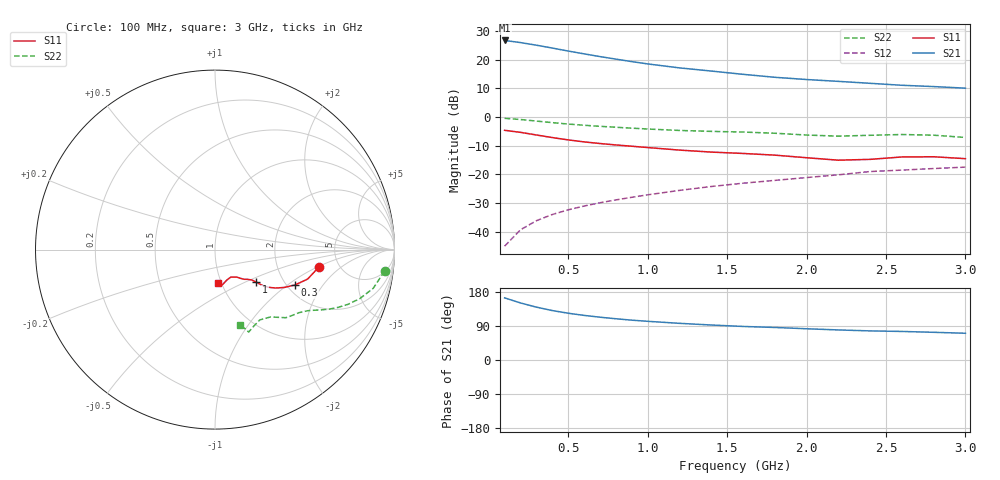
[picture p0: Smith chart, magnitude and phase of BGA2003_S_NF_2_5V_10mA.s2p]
! Title: BGA2003
! Bias: V(Vs_Out)=2.5V; I(CTRL)=10mA controlled / noise data included
! Company: Philips Semiconductors NL
! User: Quality&Reliability DiscreteSemiConductors-Nijmegen
! Measure time: 15 Jan 1999 / 14:07:37
#  MHz  S  MA  R 50
! Freq  S11  S21  S12  S22  :
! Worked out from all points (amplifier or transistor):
!   20 points, 100 MHz to 3 GHz, reference 50 ohm
!   highest |S21| = 26.8 dB at 100 MHz (marker M1)
!   |S21| within 3 dB of that: start of sweep to 433 MHz
!   unconditionally stable (mu >= 1): 1.042 GHz to end of sweep
!   at 400 MHz: K = 0.67, MSG = 29.1 dB, |S12| = -34.0 dB
!   at 1.2 GHz: K = 1.04, MAG = 20.2 dB, |S12| = -25.6 dB
!   at 3 GHz: K = 1.07, MAG = 12.1 dB, |S12| = -17.5 dB
!   lowest NFmin = 1.79 dB at 900 MHz
!   S11 on the Smith chart (normalised r, x): 100 MHz: 3.52, -1.04; 300 MHz: 2.20, -1.14; 1 GHz: 1.46, -0.58; 3 GHz: 0.96, -0.37
100  0.5877 -9.4  21.85 164.0  0.00555 84.0  0.9525 -7.2
200  0.5416 -17.7  20.06 150.6  0.01073 82.4  0.9075 -13.7
300  0.487 -23.9  18.06 139.5  0.01546 80.4  0.852 -18.7
400  0.4391 -28.7  16.1 130.5  0.01984 79.7  0.8003 -22.4
500  0.3997 -32.4  14.27 123.4  0.02393 79.6  0.7562 -25.2
600  0.3688 -34.8  12.75 117.7  0.02789 79.8  0.7202 -27.4
700  0.3454 -36.4  11.42 113.0  0.03185 80.3  0.6906 -29.0
800  0.3261 -37.2  10.31 108.8  0.0357 80.7  0.6647 -30.5
900  0.3095 -37.7  9.329 105.1  0.03967 80.9  0.6409 -31.9
1000  0.2938 -38.1  8.503 102.1  0.0438 81.3  0.6194 -33.3
1200  0.2651 -39.6  7.247 96.8  0.05233 81.7  0.5844 -37.0
1400  0.2447 -42.5  6.382 92.3  0.06124 82.1  0.5629 -40.9
1600  0.2316 -45.5  5.593 88.5  0.06988 82.4  0.548 -43.8
1800  0.2165 -48.0  4.965 85.9  0.07832 82.5  0.5225 -46.3
2000  0.195 -51.8  4.536 82.4  0.08776 81.6  0.486 -50.5
2200  0.1765 -60.2  4.212 79.3  0.09803 81.0  0.4644 -57.5
2400  0.1825 -69.1  3.895 76.8  0.1119 80.2  0.4809 -64.0
2600  0.2009 -78.5  3.6 75.3  0.1185 79.8  0.4965 -67.8
2800  0.2027 -81.8  3.416 73.1  0.1262 79.6  0.4828 -68.5
3000  0.1878 -85.5  3.204 70.5  0.1335 78.9  0.4409 -71.2
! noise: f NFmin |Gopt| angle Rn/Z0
900  1.79  0.01  21.1  0.18
1000  1.8  0.03  -104.5  0.18
1800  1.81  0.05  -121.5  0.2
2000  1.82  0.05  -130.7  0.2
2400  2.11  0.07  -116.9  0.23
